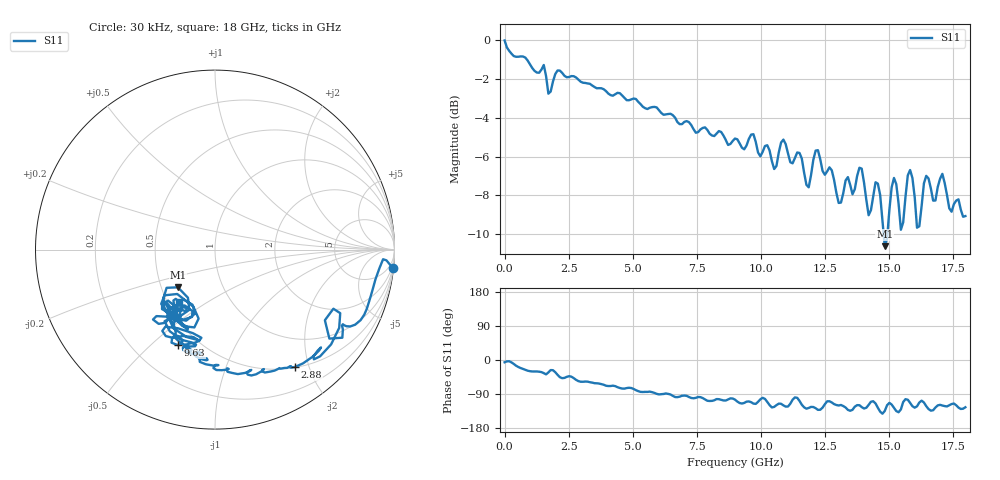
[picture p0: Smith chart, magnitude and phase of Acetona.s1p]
!Keysight Technologies N9917A: A.12.46
!Date: Thursday, 16 November 2023 19:06:46
!TimeZone: (UTC-03:00) Buenos Aires!Model: N9917A
!Serial: MY56072049
!GPS Latitude:
!GPS Longitude:
!GPS TimeStamp: 0001-01-01 00:00:00Z
!GPS Seconds Since Last Read: 0
!CHECKSUM:1017487481
!Correction: S11(Rdy)
!S1P File: Measurement: S11:
# Hz S DB R 50
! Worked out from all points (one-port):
!   201 points, 30 kHz to 18 GHz, reference 50 ohm
!   lowest |S11| = -10.6 dB at 14.85 GHz (marker M1), VSWR 1.84, Z = 30.4 - j14 ohm
!   |S11| at or under -10 dB: 14.81 GHz to 14.95 GHz (145.8 MHz wide, 0.98 % of centre)
!   S11 on the Smith chart (normalised r, x): 30 kHz: 0, -19; 2.88 GHz: 0.51, -1.78; 9.63 GHz: 0.39, -0.61; 18 GHz: 0.57, -0.38
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30000  -0.02 -6.0
1.800297e8  -0.56 -3.3
9.000285e8  -1.05 -28.2
1.620027e9  -1.86 -37.9
1.800027e9  -2.65 -26.5
2.250026e9  -1.69 -48.0
2.880025e9  -2.03 -55.7
4.500022e9  -2.73 -73.9
6.750019e9  -4.22 -98.1
9.000015e9  -5.07 -104.6
9.630014e9  -4.87 -111.3
1.008001e10  -5.76 -99.8
1.044001e10  -6.23 -125.1
1.098001e10  -5.36 -122.9
1.125001e10  -6.35 -104.8
1.224001e10  -5.67 -131.6
1.260001e10  -6.76 -109.0
1.350001e10  -7.45 -134.0
1.449001e10  -7.32 -114.6
1.485001e10  -10.61 -134.5
1.512e10  -7.58 -117.6
1.53e10  -7.42 -134.7
1.548e10  -9.77 -130.4
1.575e10  -6.96 -104.9
1.611e10  -9.66 -122.3
1.638e10  -7.38 -112.1
1.665e10  -7.63 -133.7
1.8e10  -9.06 -124.7
